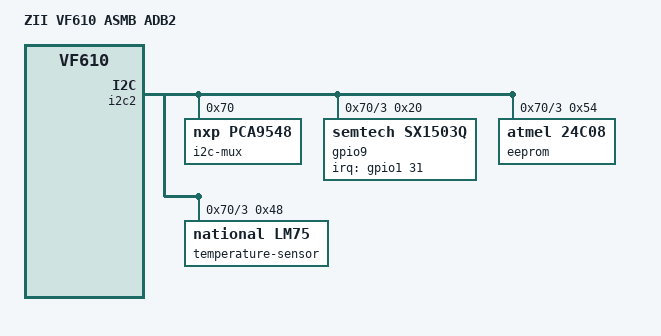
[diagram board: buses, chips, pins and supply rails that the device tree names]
// SPDX-License-Identifier: (GPL-2.0 OR MIT)
/*
 * Copyright (C) 2019 Zodiac Inflight Innovations
 */


/dts-v1/;
#include "vf610-zii-asmb.dtsi"


/ {
	model = "ZII VF610 ASMB ADB2";
	compatible = "zii,vf610adb2", "zii,vf610dev", "fsl,vf610";
};

&sff1 {
	tx-disable-gpios = <&gpio9 8 GPIO_ACTIVE_HIGH>;
};

&sff2 {
	tx-disable-gpios = <&gpio9 9 GPIO_ACTIVE_HIGH>;
};

&switch0 {
	ports {
		port@1 {
			reg = <1>;
			label = "eth_cu_1000_3";
		};

		port@2 {
			reg = <2>;
			label = "eth_cu_1000_4";
		};

		port@3 {
			reg = <3>;
			label = "eth_cu_1000_5";
		};

		port@4 {
			reg = <4>;
			label = "eth_cu_1000_6";
		};

		port@5 {
			reg = <5>;
			label = "eth_cu_1000_7";
		};

		port@6 {
			reg = <6>;
			label = "eth_cu_1000_8";
		};

		port@7 {
                        reg = <7>;
                        label = "eth_cu_1000_9";
                };

		port@8 {
			reg = <8>;
			label = "eth_cu_1000_10";
		};
	};
};

&i2c2 {
	i2c-mux@70 {
		compatible = "nxp,pca9548";
		#address-cells = <1>;
		#size-cells = <0>;
		reg = <0x70>;

		sff1_i2c: i2c@1 {
			#address-cells = <1>;
			#size-cells = <0>;
			reg = <1>;
		};

		sff2_i2c: i2c@2 {
			#address-cells = <1>;
			#size-cells = <0>;
			reg = <2>;
		};

                i2c@3 {
			#address-cells = <1>;
			#size-cells = <0>;
			reg = <3>;

                        gpio9: gpio-expander@20 {
				compatible = "semtech,sx1503q";
				pinctrl-names = "default";
				pinctrl-0 = <&pinctrl_sx1503_20>;
				#gpio-cells = <2>;
				#interrupt-cells = <2>;
				reg = <0x20>;
				gpio-controller;
				interrupt-controller;
				interrupt-parent = <&gpio1>;
				interrupts = <31 IRQ_TYPE_EDGE_FALLING>;
			};

                        eeprom@54 {
		               compatible = "atmel,24c08";
		               reg = <0x54>;
	                };

			temperature-sensor@48 {
				compatible = "national,lm75";
				reg = <0x48>;
			};
		};
	};
};
